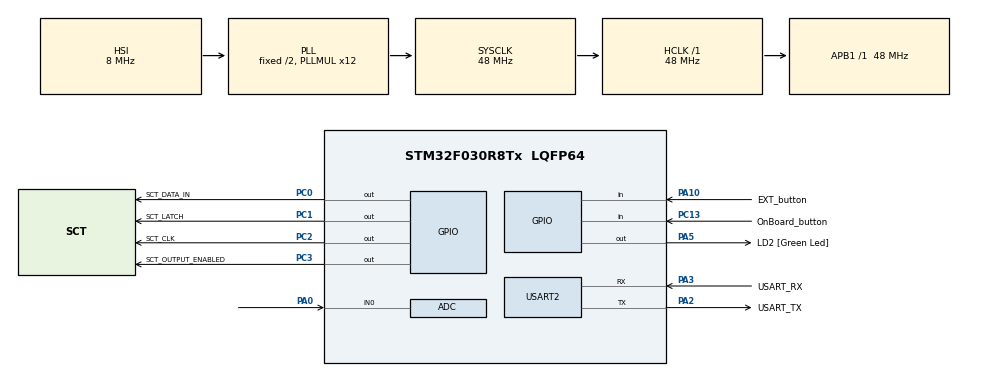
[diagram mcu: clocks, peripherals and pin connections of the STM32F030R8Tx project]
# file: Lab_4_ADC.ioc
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ADC.ContinuousConvMode=ENABLE
ADC.Overrun=ADC_OVR_DATA_OVERWRITTEN
ADC.SamplingTime=ADC_SAMPLETIME_239CYCLES_5
Mcu.Family=STM32F0
Mcu.Name=STM32F030R8Tx
Mcu.Package=LQFP64
NVIC.ADC1_IRQn=true\:0\:0\:false\:false\:true\:true\:true
PA0.Mode=IN0
PA0.Signal=ADC_IN0
PA10.GPIO_Label=EXT_button
PA10.GPIO_PuPd=GPIO_PULLUP
PA10.Signal=GPIO_Input
PA13.GPIO_Label=TMS
PA13.Mode=Serial_Wire
PA13.Signal=SYS_SWDIO
PA14.GPIO_Label=TCK
PA14.Mode=Serial_Wire
PA14.Signal=SYS_SWCLK
PA2.GPIO_Label=USART_TX
PA2.GPIO_Mode=GPIO_MODE_AF_PP
PA2.GPIO_PuPd=GPIO_NOPULL
PA2.GPIO_Speed=GPIO_SPEED_FREQ_LOW
PA2.Mode=Asynchronous
PA2.Signal=USART2_TX
PA3.GPIO_Label=USART_RX
PA3.GPIO_Mode=GPIO_MODE_AF_PP
PA3.GPIO_PuPd=GPIO_NOPULL
PA3.GPIO_Speed=GPIO_SPEED_FREQ_LOW
PA3.Mode=Asynchronous
PA3.Signal=USART2_RX
PA5.GPIO_Label=LD2 [Green Led]
PA5.GPIO_Mode=GPIO_MODE_OUTPUT_PP
PA5.GPIO_PuPd=GPIO_NOPULL
PA5.GPIO_Speed=GPIO_SPEED_FREQ_LOW
PA5.Signal=GPIO_Output
PC0.GPIO_Label=SCT_DATA_IN
PC0.Signal=GPIO_Output
PC1.GPIO_Label=SCT_LATCH
PC1.Signal=GPIO_Output
PC13.GPIO_Label=OnBoard_button
PC13.GPIO_PuPd=GPIO_PULLUP
PC13.Signal=GPIO_Input
PC14-OSC32_IN.Mode=LSE-External-Oscillator
PC14-OSC32_IN.Signal=RCC_OSC32_IN
PC15-OSC32_OUT.Mode=LSE-External-Oscillator
PC15-OSC32_OUT.Signal=RCC_OSC32_OUT
PC2.GPIO_Label=SCT_CLK
PC2.Signal=GPIO_Output
PC3.GPIO_Label=SCT_OUTPUT_ENABLED
PC3.Signal=GPIO_Output
PF0-OSC_IN.Mode=HSE-External-Clock-Source
PF0-OSC_IN.Signal=RCC_OSC_IN
PF1-OSC_OUT.Signal=RCC_OSC_OUT
ProjectManager.HeapSize=0x200
ProjectManager.StackSize=0x400
ProjectManager.TargetToolchain=STM32CubeIDE
RCC.AHBFreq_Value=48000000
RCC.APB1Freq_Value=48000000
RCC.APB1TimFreq_Value=48000000
RCC.HCLKFreq_Value=48000000
RCC.PLLMUL=RCC_PLL_MUL12
RCC.SYSCLKFreq_VALUE=48000000
RCC.SYSCLKSource=RCC_SYSCLKSOURCE_PLLCLK
USART2.VirtualMode-Asynchronous=VM_ASYNC
VP_ADC_TempSens_Input.Mode=IN-TempSens
VP_ADC_Vref_Input.Mode=IN-Vrefint
board=NUCLEO-F030R8

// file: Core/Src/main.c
/* USER CODE BEGIN Header */
/**
  ******************************************************************************
  * @file           : main.c
  * @brief          : Main program body
  ******************************************************************************
  * @attention
  *
  * <h2><center>&copy; Copyright (c) 2021 STMicroelectronics.
  * All rights reserved.</center></h2>
  *
  * This software component is licensed by ST under BSD 3-Clause license,
  * the "License"; You may not use this file except in compliance with the
  * License. You may obtain a copy of the License at:
  *                        opensource.org/licenses/BSD-3-Clause
  *
  ******************************************************************************
  */
/* USER CODE END Header */
#include "main.h"

/* USER CODE BEGIN Includes */
#include "sct.h"
/* USER CODE END Includes */

/* USER CODE BEGIN PD */
#define AVG_Q 12
#define TEMP110_CAL_ADDR ((uint16_t*) ((uint32_t) 0x1FFFF7C2))
#define TEMP30_CAL_ADDR ((uint16_t*) ((uint32_t) 0x1FFFF7B8))
/* Internal voltage reference calibration value address */
#define VREFINT_CAL_ADDR ((uint16_t*) ((uint32_t) 0x1FFFF7BA))
/* USER CODE END PD */

ADC_HandleTypeDef hadc;

UART_HandleTypeDef huart2;

/* USER CODE BEGIN PV */
static volatile uint32_t raw_pot_value;
static volatile uint32_t raw_temp;
static volatile uint32_t raw_volt;

/* USER CODE END PV */

void SystemClock_Config(void);
static void MX_GPIO_Init(void);
static void MX_USART2_UART_Init(void);
static void MX_ADC_Init(void);

/* USER CODE BEGIN 0 */
 void HAL_ADC_ConvCpltCallback(ADC_HandleTypeDef* hadc){
	 static uint8_t channel = 0;
	 if (channel == 0){ //get pot value
		 static uint32_t avg_pot;
		 raw_pot_value = avg_pot >> AVG_Q; //Avg_pot is val
		 avg_pot -= raw_pot_value;
		 avg_pot += HAL_ADC_GetValue(hadc);
	 }

	 else if (channel == 1){ //TEMPERATURE
		 raw_temp = HAL_ADC_GetValue(hadc);
	 }

	 else if (channel == 2){ //Voltage
		 raw_volt = HAL_ADC_GetValue(hadc);
	 }

	 if(__HAL_ADC_GET_FLAG(hadc,ADC_FLAG_EOS)) {
		 channel = 0;
	 }

	 else {
		 channel++;
	 }
 }
/* USER CODE END 0 */

int main(void)
{

  /* MCU Configuration--------------------------------------------------------*/

  /* Reset of all peripherals, Initializes the Flash interface and the Systick. */
  HAL_Init();

  /* Configure the system clock */
  SystemClock_Config();

  /* Initialize all configured peripherals */
  MX_GPIO_Init();
  MX_USART2_UART_Init();
  MX_ADC_Init();
  /* USER CODE BEGIN 2 */
  sct_init(); //Init 7SEG driver
  HAL_ADCEx_Calibration_Start(&hadc); // autocalibration
  HAL_ADC_Start_IT(&hadc); //start ADC in interrupt mode (after each conversion starts again)
  /* USER CODE END 2 */

  /* Infinite loop */
  while (1)
  {

    /* USER CODE BEGIN 3 */

	  static enum {SHOW_POT, SHOW_VOLT, SHOW_TEMP} state = SHOW_POT;
	  static uint32_t delay;

	  if (state == SHOW_POT){
		  //raw_pot_is 12 bit -> we want range from 0 to 900
		  sct_display_digit(raw_pot_value*999/( 1<<12 ) , raw_pot_value * 9 / (1<<12));
	  }
	  else if (state == SHOW_TEMP ){
		  int32_t temperature = (raw_temp - (int32_t)(*TEMP30_CAL_ADDR));
		  temperature = temperature * (int32_t)(110 - 30);
		  temperature = temperature / (int32_t)(*TEMP110_CAL_ADDR - *TEMP30_CAL_ADDR);
		  temperature = temperature + 30;

		  sct_display_digit(temperature , temperature * 9/60);
	  }

	  else if (state == SHOW_VOLT ){
		  uint32_t voltage = 330 * (*VREFINT_CAL_ADDR) / raw_volt;
		  sct_display_digit(voltage , voltage * 9/3);
	  }

	  if (HAL_GetTick() > delay + 2000) state = SHOW_POT;

	  if (!HAL_GPIO_ReadPin(GPIOA, GPIO_PIN_10)) {
		  state = SHOW_TEMP;
		  delay = HAL_GetTick();
	  }
	  if (!HAL_GPIO_ReadPin(GPIOC, GPIO_PIN_13)) {
		  state = SHOW_VOLT;
		  delay = HAL_GetTick();
	  }
  }
  /* USER CODE END 3 */
}

void SystemClock_Config(void)
{
  RCC_OscInitTypeDef RCC_OscInitStruct = {0};
  RCC_ClkInitTypeDef RCC_ClkInitStruct = {0};

  /** Initializes the RCC Oscillators according to the specified parameters
  * in the RCC_OscInitTypeDef structure.
  */
  RCC_OscInitStruct.OscillatorType = RCC_OSCILLATORTYPE_HSI|RCC_OSCILLATORTYPE_HSI14;
  RCC_OscInitStruct.HSIState = RCC_HSI_ON;
  RCC_OscInitStruct.HSI14State = RCC_HSI14_ON;
  RCC_OscInitStruct.HSICalibrationValue = RCC_HSICALIBRATION_DEFAULT;
  RCC_OscInitStruct.HSI14CalibrationValue = 16;
  RCC_OscInitStruct.PLL.PLLState = RCC_PLL_ON;
  RCC_OscInitStruct.PLL.PLLSource = RCC_PLLSOURCE_HSI;
  RCC_OscInitStruct.PLL.PLLMUL = RCC_PLL_MUL12;
  RCC_OscInitStruct.PLL.PREDIV = RCC_PREDIV_DIV1;
  if (HAL_RCC_OscConfig(&RCC_OscInitStruct) != HAL_OK)
  {
    Error_Handler();
  }
  /** Initializes the CPU, AHB and APB buses clocks
  */
  RCC_ClkInitStruct.ClockType = RCC_CLOCKTYPE_HCLK|RCC_CLOCKTYPE_SYSCLK
                              |RCC_CLOCKTYPE_PCLK1;
  RCC_ClkInitStruct.SYSCLKSource = RCC_SYSCLKSOURCE_PLLCLK;
  RCC_ClkInitStruct.AHBCLKDivider = RCC_SYSCLK_DIV1;
  RCC_ClkInitStruct.APB1CLKDivider = RCC_HCLK_DIV1;

  if (HAL_RCC_ClockConfig(&RCC_ClkInitStruct, FLASH_LATENCY_1) != HAL_OK)
  {
    Error_Handler();
  }
}

static void MX_ADC_Init(void)
{

  ADC_ChannelConfTypeDef sConfig = {0};

  /** Configure the global features of the ADC (Clock, Resolution, Data Alignment and number of conversion)
  */
  hadc.Instance = ADC1;
  hadc.Init.ClockPrescaler = ADC_CLOCK_ASYNC_DIV1;
  hadc.Init.Resolution = ADC_RESOLUTION_12B;
  hadc.Init.DataAlign = ADC_DATAALIGN_RIGHT;
  hadc.Init.ScanConvMode = ADC_SCAN_DIRECTION_FORWARD;
  hadc.Init.EOCSelection = ADC_EOC_SINGLE_CONV;
  hadc.Init.LowPowerAutoWait = DISABLE;
  hadc.Init.LowPowerAutoPowerOff = DISABLE;
  hadc.Init.ContinuousConvMode = ENABLE;
  hadc.Init.DiscontinuousConvMode = DISABLE;
  hadc.Init.ExternalTrigConv = ADC_SOFTWARE_START;
  hadc.Init.ExternalTrigConvEdge = ADC_EXTERNALTRIGCONVEDGE_NONE;
  hadc.Init.DMAContinuousRequests = DISABLE;
  hadc.Init.Overrun = ADC_OVR_DATA_OVERWRITTEN;
  if (HAL_ADC_Init(&hadc) != HAL_OK)
  {
    Error_Handler();
  }
  /** Configure for the selected ADC regular channel to be converted.
  */
  sConfig.Channel = ADC_CHANNEL_0;
  sConfig.Rank = ADC_RANK_CHANNEL_NUMBER;
  sConfig.SamplingTime = ADC_SAMPLETIME_239CYCLES_5;
  if (HAL_ADC_ConfigChannel(&hadc, &sConfig) != HAL_OK)
  {
    Error_Handler();
  }
  /** Configure for the selected ADC regular channel to be converted.
  */
  sConfig.Channel = ADC_CHANNEL_TEMPSENSOR;
  if (HAL_ADC_ConfigChannel(&hadc, &sConfig) != HAL_OK)
  {
    Error_Handler();
  }
  /** Configure for the selected ADC regular channel to be converted.
  */
  sConfig.Channel = ADC_CHANNEL_VREFINT;
  if (HAL_ADC_ConfigChannel(&hadc, &sConfig) != HAL_OK)
  {
    Error_Handler();
  }

}

static void MX_USART2_UART_Init(void)
{

  huart2.Instance = USART2;
  huart2.Init.BaudRate = 38400;
  huart2.Init.WordLength = UART_WORDLENGTH_8B;
  huart2.Init.StopBits = UART_STOPBITS_1;
  huart2.Init.Parity = UART_PARITY_NONE;
  huart2.Init.Mode = UART_MODE_TX_RX;
  huart2.Init.HwFlowCtl = UART_HWCONTROL_NONE;
  huart2.Init.OverSampling = UART_OVERSAMPLING_16;
  huart2.Init.OneBitSampling = UART_ONE_BIT_SAMPLE_DISABLE;
  huart2.AdvancedInit.AdvFeatureInit = UART_ADVFEATURE_NO_INIT;
  if (HAL_UART_Init(&huart2) != HAL_OK)
  {
    Error_Handler();
  }

}

static void MX_GPIO_Init(void)
{
  GPIO_InitTypeDef GPIO_InitStruct = {0};

  /* GPIO Ports Clock Enable */
  __HAL_RCC_GPIOC_CLK_ENABLE();
  __HAL_RCC_GPIOF_CLK_ENABLE();
  __HAL_RCC_GPIOA_CLK_ENABLE();

  /*Configure GPIO pin Output Level */
  HAL_GPIO_WritePin(GPIOC, SCT_DATA_IN_Pin|SCT_LATCH_Pin|SCT_CLK_Pin|SCT_OUTPUT_ENABLED_Pin, GPIO_PIN_RESET);

  /*Configure GPIO pin Output Level */
  HAL_GPIO_WritePin(LD2_GPIO_Port, LD2_Pin, GPIO_PIN_RESET);

  /*Configure GPIO pin : OnBoard_button_Pin */
  GPIO_InitStruct.Pin = OnBoard_button_Pin;
  GPIO_InitStruct.Mode = GPIO_MODE_INPUT;
  GPIO_InitStruct.Pull = GPIO_PULLUP;
  HAL_GPIO_Init(OnBoard_button_GPIO_Port, &GPIO_InitStruct);

  /*Configure GPIO pins : SCT_DATA_IN_Pin SCT_LATCH_Pin SCT_CLK_Pin SCT_OUTPUT_ENABLED_Pin */
  GPIO_InitStruct.Pin = SCT_DATA_IN_Pin|SCT_LATCH_Pin|SCT_CLK_Pin|SCT_OUTPUT_ENABLED_Pin;
  GPIO_InitStruct.Mode = GPIO_MODE_OUTPUT_PP;
  GPIO_InitStruct.Pull = GPIO_NOPULL;
  GPIO_InitStruct.Speed = GPIO_SPEED_FREQ_LOW;
  HAL_GPIO_Init(GPIOC, &GPIO_InitStruct);

  /*Configure GPIO pin : LD2_Pin */
  GPIO_InitStruct.Pin = LD2_Pin;
  GPIO_InitStruct.Mode = GPIO_MODE_OUTPUT_PP;
  GPIO_InitStruct.Pull = GPIO_NOPULL;
  GPIO_InitStruct.Speed = GPIO_SPEED_FREQ_LOW;
  HAL_GPIO_Init(LD2_GPIO_Port, &GPIO_InitStruct);

  /*Configure GPIO pin : EXT_button_Pin */
  GPIO_InitStruct.Pin = EXT_button_Pin;
  GPIO_InitStruct.Mode = GPIO_MODE_INPUT;
  GPIO_InitStruct.Pull = GPIO_PULLUP;
  HAL_GPIO_Init(EXT_button_GPIO_Port, &GPIO_InitStruct);

}

void Error_Handler(void)
{
  __disable_irq();
  while (1)
  {
  }
}

/************************ (C) COPYRIGHT STMicroelectronics *****END OF FILE****/
